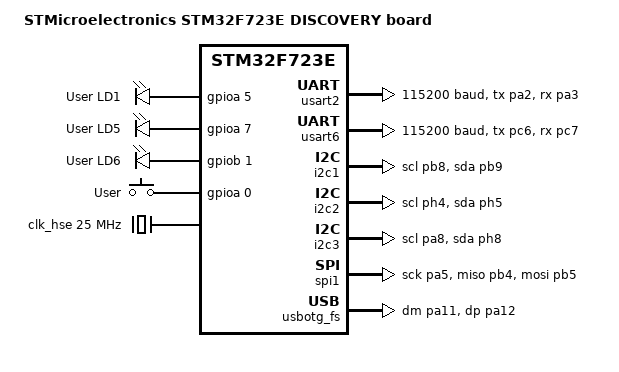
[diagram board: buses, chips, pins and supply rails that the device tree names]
/*
 * Copyright (c) 2018 Aurelien Jarno
 *
 * SPDX-License-Identifier: Apache-2.0
 */

/dts-v1/;
#include <st/f7/stm32f723Xe.dtsi>
#include <st/f7/stm32f723i(c-e)kx-pinctrl.dtsi>
#include "arduino_r3_connector.dtsi"

/ {
	model = "STMicroelectronics STM32F723E DISCOVERY board";
	compatible = "st,stm32f723e-disco";

	chosen {
		zephyr,console = &usart6;
		zephyr,shell-uart = &usart6;
		zephyr,sram = &sram0;
		zephyr,flash = &flash0;
	};

	leds {
		compatible = "gpio-leds";
		blue_led: led_1 {
			gpios = <&gpioa 5 GPIO_ACTIVE_HIGH>;
			label = "User LD1";
		};
		red_led: led_2 {
			gpios = <&gpioa 7 GPIO_ACTIVE_HIGH>;
			label = "User LD5";
		};
		green_led: led_3 {
			gpios = <&gpiob 1 GPIO_ACTIVE_HIGH>;
			label = "User LD6";
		};
	};

	gpio_keys {
		compatible = "gpio-keys";
		user_button: button {
			label = "User";
			gpios = <&gpioa 0 GPIO_ACTIVE_HIGH>;
		};
	};

	aliases {
		led0 = &blue_led;
		led1 = &red_led;
		led2 = &green_led;
		sw0 = &user_button;
	};
};

&clk_hse {
	clock-frequency = <DT_FREQ_M(25)>;
	status = "okay";
};

&pll {
	div-m = <25>;
	mul-n = <432>;
	div-p = <2>;
	div-q = <9>;
	clocks = <&clk_hse>;
	status = "okay";
};

&rcc {
	clocks = <&pll>;
	clock-frequency = <DT_FREQ_M(216)>;
	ahb-prescaler = <1>;
	apb1-prescaler = <4>;
	apb2-prescaler = <2>;
};

&usart2 {
	pinctrl-0 = <&usart2_tx_pa2 &usart2_rx_pa3>;
	pinctrl-names = "default";
	current-speed = <115200>;
	status = "okay";
};

&usart6 {
	pinctrl-0 = <&usart6_tx_pc6 &usart6_rx_pc7>;
	pinctrl-names = "default";
	current-speed = <115200>;
	status = "okay";
};

&i2c1 {
	pinctrl-0 = <&i2c1_scl_pb8 &i2c1_sda_pb9>;
	pinctrl-names = "default";
	status = "okay";
};

&i2c2 {
	pinctrl-0 = <&i2c2_scl_ph4 &i2c2_sda_ph5>;
	pinctrl-names = "default";
	status = "okay";
};

&i2c3 {
	pinctrl-0 = <&i2c3_scl_pa8 &i2c3_sda_ph8>;
	pinctrl-names = "default";
	status = "okay";
};

&spi1 {
	pinctrl-0 = <&spi1_sck_pa5 &spi1_miso_pb4 &spi1_mosi_pb5>;
	pinctrl-names = "default";
	status = "okay";
};

zephyr_udc0: &usbotg_fs {
	pinctrl-0 = <&usb_otg_fs_dm_pa11 &usb_otg_fs_dp_pa12>;
	pinctrl-names = "default";
	status = "okay";
};
